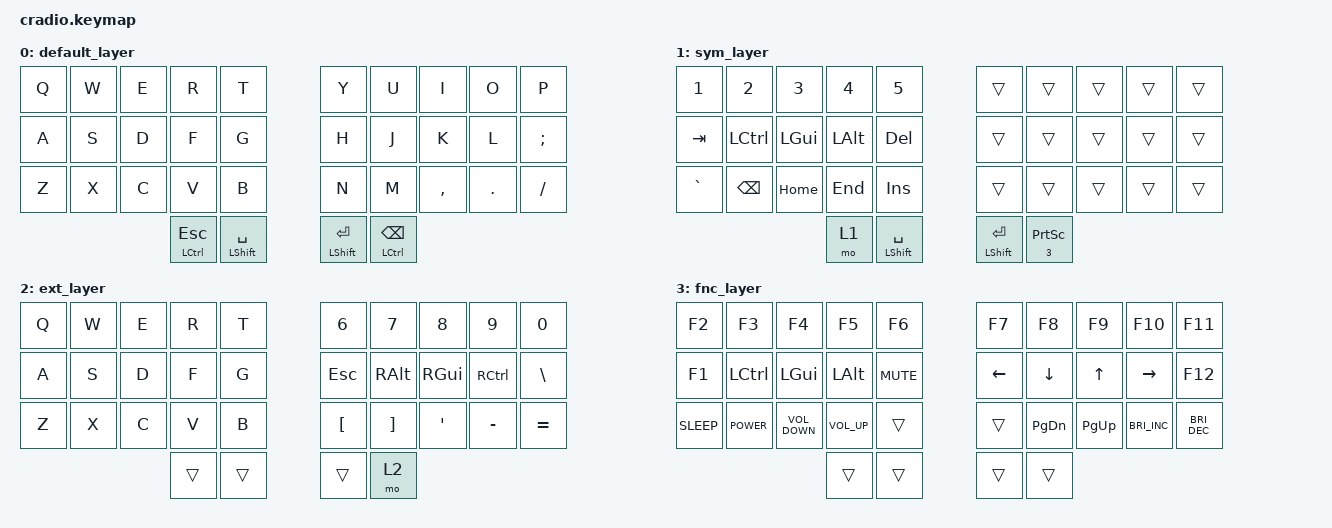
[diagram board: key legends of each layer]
/*
 * Copyright (c) 2020 The ZMK Contributors
 *
 * SPDX-License-Identifier: MIT
 */

#include <behaviors.dtsi>
#include <dt-bindings/zmk/keys.h>
#include <dt-bindings/zmk/bt.h>
#include "italian.keycodes"

// Layer definitions
    #define BASE 0
    #define SYM 1
    #define EXT 2
    #define FNC 3
// -----------------

&mt {
   //  flavor = "tap-preferred";
   // tapping_term_ms = <200>;
};

&sk {
    ignore-modifiers;
};

/ {

    keymap {
            compatible = "zmk,keymap";

        // Base alpha layer
       		default_layer {
		bindings = <
		&kp Q &kp W &kp E &kp R &kp T     &kp Y &kp U &kp I &kp O &kp P 
		&kp A &kp S &kp D &kp F &kp G     &kp H  &kp J &kp K &kp L &kp SEMICOLON 
		&kp Z &kp X &kp C &kp V &kp B     &kp N &kp M &kp COMMA &kp DOT &kp SLASH 
		    &mt LEFT_CONTROL ESCAPE &mt LEFT_SHIFT SPACE &mt LEFT_SHIFT ENTER &mt LEFT_CONTROL BACKSPACE
		>;
		};

        // Numbers and high frequency symbols
       		sym_layer {
		bindings = <
		&kp N1 &kp N2 &kp N3 &kp N4 &kp N5                            &trans &trans &trans &trans &trans 
		&kp TAB &kp LEFT_CONTROL &kp LEFT_GUI &kp LEFT_ALT &kp DELETE &trans &trans &trans &trans &trans 
		&kp GRAVE &kp BACKSPACE &kp HOME &kp END &kp INSERT           &trans &trans &trans &trans &trans 
		&mo 1 &mt LEFT_SHIFT SPACE &mt LEFT_SHIFT ENTER &mt 3 PRINTSCREEN
		>;
		};

        // Main modifiers and arrow keys
		    ext_layer {
		bindings = <
                &kp Q &kp W &kp E &kp R &kp T     &kp N6 &kp N7 &kp N8 &kp N9 &kp N0 
                &kp A &kp S &kp D &kp F &kp G     &kp ESCAPE &kp RIGHT_ALT &kp RIGHT_GUI &kp RIGHT_CONTROL &kp BACKSLASH 
                &kp Z &kp X &kp C &kp V &kp B     &kp LEFT_BRACKET &kp RIGHT_BRACKET &kp SINGLE_QUOTE &kp MINUS &kp EQUAL 
                &trans &trans &trans &mo 2 
		>;
		};

        // Function keys with modifiers
       		fnc_layer {
		bindings = <
		&kp F2 &kp F3 &kp F4 &kp F5 &kp F6 &kp F7 &kp F8 &kp F9 &kp F10 &kp F11 
		&kp F1 &kp LEFT_CONTROL &kp LEFT_GUI &kp LEFT_ALT &kp C_MUTE &kp LEFT &kp DOWN &kp UP &kp RIGHT &kp F12 
		&kp C_SLEEP &kp C_POWER &kp C_VOLUME_DOWN &kp C_VOLUME_UP &trans &trans &kp PAGE_DOWN &kp PAGE_UP &kp C_BRIGHTNESS_INC &kp C_BRIGHTNESS_DEC 
		&trans &trans &trans &trans
		>;
		};


	};
};
